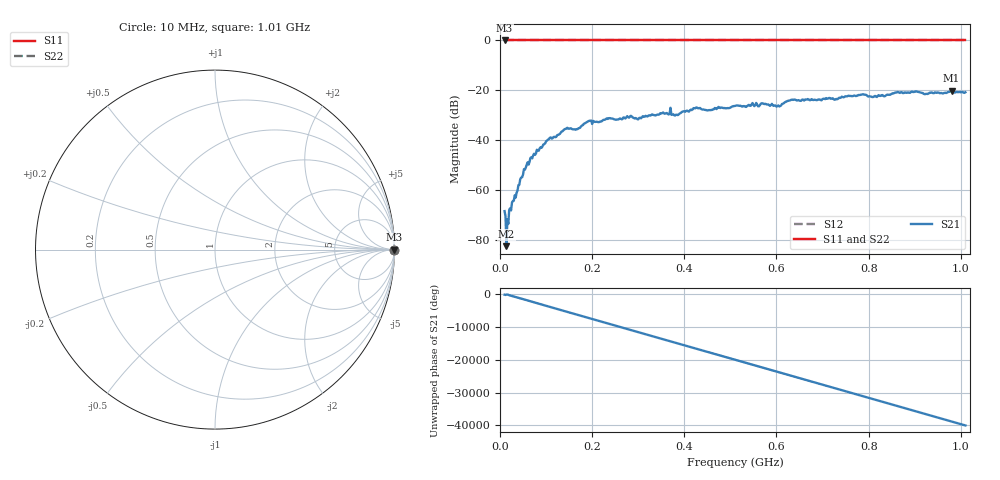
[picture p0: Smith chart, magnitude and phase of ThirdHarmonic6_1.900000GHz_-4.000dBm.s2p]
! 8/16/2025 10:55:49 PM
! C:\ANRITSUVNA\TEMP\TEMP.S2P
! CHANNEL.1
! TR.MEASUREMENT
! RAW.DATA
! RF.CORRECTION.OFF
! AVERAGING.OFF
! IF.BANDWIDTH: 5KHZ
! SWEEPTYPE:  FREQ.SWEEP(Linear)
! Reference Plane Port Info
! PORT:  PORT1  PORT2
! DISTANCE:  0  m  0  m
! TIME:  0  s  0  s
! PHASE.OFFSET:  0  deg.  0  deg.
! LOSS:  0  dB  0  dB
! REF.LOSS:  0  dB  0  dB
! REF.FREQ:  0  Hz  0  Hz
! Power Info
! POWER:  -20  dBm  -20  dBm
! EFF.POWER:  -20  dBm  -20  dBm
! SOURCE.ATTEN:  0  dB  0  dB
! TEST.ATTEN:  0  dB  0  dB
# GHZ S RI R 50.0
! FREQ.GHZ  S11RE  S11IM  S21RE  S21IM  S12RE  S12IM  S22RE  S22IM
!; PortSelection: Port_12
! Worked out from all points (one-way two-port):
!   501 points, 10 MHz to 1.01 GHz, reference 50 ohm
!   highest |S21| = -20.06 dB at 980 MHz (marker M1); lowest = -82.3 dB at 14 MHz (marker M2)
!   lowest |S11| = 0.0 dB at 10 MHz (marker M3)
!   |S11| at or under -10 dB: nowhere
!   |S22| runs from 0.0 to 0.0 dB; largest |S21 - S12| = 1.1
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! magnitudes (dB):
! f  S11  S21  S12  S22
! 10 MHz  0.0  -68.3  0.0  0.0
! 14 MHz  0.0  -82.3  0.0  0.0
! 18 MHz  0.0  -73.4  0.0  0.0
! 24 MHz  0.0  -68.0  0.0  0.0
! 48 MHz  0.0  -54.7  0.0  0.0
! 70 MHz  0.0  -47.1  0.0  0.0
! 106 MHz  0.0  -39.5  0.0  0.0
! 142 MHz  0.0  -35.4  0.0  0.0
! 164 MHz  0.0  -35.7  0.0  0.0
! 178 MHz  0.0  -34.0  0.0  0.0
! 194 MHz  0.0  -32.1  0.0  0.0
! 344 MHz  0.0  -29.7  0.0  0.0
! 382 MHz  0.0  -29.7  0.0  0.0
! 424 MHz  0.0  -27.1  0.0  0.0
! 454 MHz  0.0  -27.8  0.0  0.0
! 510 MHz  0.0  -26.2  0.0  0.0
! 604 MHz  0.0  -26.0  0.0  0.0
! 634 MHz  0.0  -23.7  0.0  0.0
! 678 MHz  0.0  -23.7  0.0  0.0
! 844 MHz  0.0  -21.7  0.0  0.0
! 980 MHz  0.0  -20.1  0.0  0.0
! 1.01 GHz  0.0  -20.7  0.0  0.0
